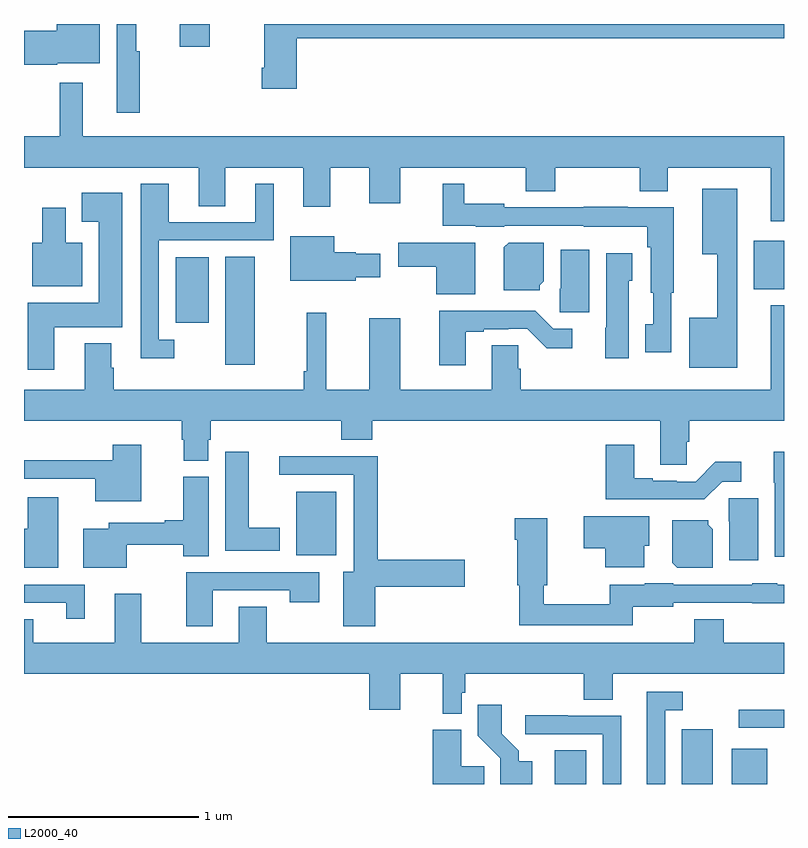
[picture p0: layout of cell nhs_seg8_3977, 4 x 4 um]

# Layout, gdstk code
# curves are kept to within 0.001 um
import gdstk
lib = gdstk.Library(unit=1e-6, precision=1e-09)
def R(c, l, rs):  # rectangles x0, y0, x1, y1
    for r in rs: c.add(gdstk.rectangle(r[:2], r[2:], *l))
def P(c, l, *ps):  # polygons
    for p in ps: c.add(gdstk.Polygon(p, *l))
L2000_40 = (2000, 40)

nhs_seg8_3977 = lib.new_cell('nhs_seg8_3977')
R(nhs_seg8_3977, L2000_40, [(357.794,1135.9,357.958,1136.078), (358.463,1135.9,358.624,1136.188), (358.724,1135.9,358.912,1136.086), (358.761,1136.196,359,1136.292), (356.432,1137.104,356.644,1137.439), (356.06,1138.107,356.215,1138.676), (355.799,1138.328,355.972,1138.672), (358.841,1138.505,359,1138.759), (355.82,1139.781,355.978,1139.9)])
P(nhs_seg8_3977, L2000_40, [(355.176,1139.693),(355.399,1139.693),(355.399,1139.9),(355.172,1139.9),(355.172,1139.864),(355,1139.864),(355,1139.686),(355.176,1139.686)],
  [(355.609,1139.757),(355.591,1139.757),(355.591,1139.9),(355.487,1139.9),(355.487,1139.433),(355.609,1139.433)],
  [(356.435,1139.824),(359,1139.824),(359,1139.9),(356.264,1139.9),(356.264,1139.671),(356.252,1139.671),(356.252,1139.559),(356.435,1139.559)],
  [(359,1139.308),(355.309,1139.308),(355.309,1139.59),(355.188,1139.59),(355.188,1139.308),(355,1139.308),(355,1139.144),(355.919,1139.144),(355.919,1138.942),(356.059,1138.942),(356.059,1139.144),(356.471,1139.144),(356.471,1138.938),(356.611,1138.938),(356.611,1139.144),(356.816,1139.144),(356.816,1138.956),(356.98,1138.956),(356.98,1139.144),(357.64,1139.144),(357.64,1139.02),(357.795,1139.02),(357.795,1139.144),(358.24,1139.144),(358.24,1139.02),(358.387,1139.02),(358.387,1139.144),(358.931,1139.144),(358.931,1138.863),(359,1138.863)],
  [(355.792,1138.239),(355.71,1138.239),(355.71,1138.761),(356.314,1138.761),(356.314,1139.059),(356.216,1139.059),(356.216,1138.857),(355.762,1138.857),(355.762,1139.059),(355.614,1139.059),(355.614,1138.142),(355.792,1138.142)],
  [(358.407,1138.485),(358.42,1138.485),(358.42,1138.935),(358.177,1138.935),(358.177,1138.937),(357.945,1138.937),(357.945,1138.935),(357.528,1138.935),(357.528,1138.954),(357.316,1138.954),(357.316,1139.059),(357.205,1139.059),(357.205,1138.838),(357.378,1138.838),(357.378,1138.832),(357.528,1138.832),(357.528,1138.839),(357.945,1138.839),(357.945,1138.832),(358.28,1138.832),(358.28,1138.725),(358.298,1138.725),(358.298,1138.485),(358.311,1138.485),(358.311,1138.321),(358.271,1138.321),(358.271,1138.173),(358.407,1138.173)],
  [(358.753,1139.032),(358.571,1139.032),(358.571,1138.688),(358.649,1138.688),(358.649,1138.354),(358.502,1138.354),(358.502,1138.091),(358.753,1138.091)],
  [(355.159,1138.304),(355.516,1138.304),(355.516,1139.011),(355.304,1139.011),(355.304,1138.859),(355.394,1138.859),(355.394,1138.432),(355.019,1138.432),(355.019,1138.08),(355.159,1138.08)],
  [(355.306,1138.75),(355.219,1138.75),(355.219,1138.933),(355.097,1138.933),(355.097,1138.75),(355.043,1138.75),(355.043,1138.52),(355.306,1138.52)],
  [(356.745,1138.568),(356.875,1138.568),(356.875,1138.69),(356.745,1138.69),(356.745,1138.698),(356.632,1138.698),(356.632,1138.783),(356.402,1138.783),(356.402,1138.55),(356.745,1138.55)],
  [(357.714,1138.524),(357.736,1138.546),(357.736,1138.75),(357.55,1138.75),(357.524,1138.724),(357.524,1138.499),(357.714,1138.499)],
  [(357.376,1138.75),(356.97,1138.75),(356.97,1138.622),(357.17,1138.622),(357.17,1138.478),(357.376,1138.478)],
  [(357.976,1138.711),(357.824,1138.711),(357.824,1138.506),(357.82,1138.506),(357.82,1138.383),(357.976,1138.383)],
  [(358.183,1138.548),(358.201,1138.548),(358.201,1138.693),(358.064,1138.693),(358.064,1138.302),(358.058,1138.302),(358.058,1138.14),(358.183,1138.14)],
  [(358.488,1137.702),(358.502,1137.702),(358.502,1137.812),(359,1137.812),(359,1138.42),(358.931,1138.42),(358.931,1137.976),(357.614,1137.976),(357.614,1138.086),(357.6,1138.086),(357.6,1138.208),(357.461,1138.208),(357.461,1137.976),(356.98,1137.976),(356.98,1138.351),(356.816,1138.351),(356.816,1137.976),(356.592,1137.976),(356.592,1138.381),(356.488,1138.381),(356.488,1138.072),(356.473,1138.072),(356.473,1137.976),(355.472,1137.976),(355.472,1138.092),(355.459,1138.092),(355.459,1138.219),(355.319,1138.219),(355.319,1137.976),(355,1137.976),(355,1137.812),(355.829,1137.812),(355.829,1137.711),(355.841,1137.711),(355.841,1137.601),(355.969,1137.601),(355.969,1137.711),(355.982,1137.711),(355.982,1137.812),(356.669,1137.812),(356.669,1137.713),(356.834,1137.713),(356.834,1137.812),(358.349,1137.812),(358.349,1137.58),(358.488,1137.58)],
  [(357.325,1138.281),(357.421,1138.281),(357.421,1138.293),(357.548,1138.293),(357.548,1138.296),(357.648,1138.296),(357.751,1138.194),(357.886,1138.194),(357.886,1138.296),(357.786,1138.296),(357.692,1138.39),(357.185,1138.39),(357.185,1138.104),(357.325,1138.104)],
  [(355.618,1137.685),(355.466,1137.685),(355.466,1137.605),(355,1137.605),(355,1137.507),(355.376,1137.507),(355.376,1137.389),(355.618,1137.389)],
  [(358.674,1137.492),(358.774,1137.492),(358.774,1137.595),(358.639,1137.595),(358.536,1137.492),(358.436,1137.492),(358.436,1137.495),(358.309,1137.495),(358.309,1137.508),(358.213,1137.508),(358.213,1137.685),(358.061,1137.685),(358.061,1137.399),(358.58,1137.398)],
  [(356.347,1137.25),(356.182,1137.25),(356.182,1137.649),(356.06,1137.649),(356.06,1137.128),(356.347,1137.128)],
  [(359,1137.649),(358.946,1137.649),(358.946,1137.486),(358.952,1137.486),(358.952,1137.096),(359,1137.096)],
  [(356.848,1136.938),(357.319,1136.938),(357.319,1137.08),(356.861,1137.08),(356.861,1137.626),(356.343,1137.626),(356.343,1137.528),(356.735,1137.528),(356.735,1137.016),(356.681,1137.016),(356.681,1136.73),(356.848,1136.73)],
  [(355.542,1137.16),(355.838,1137.16),(355.838,1137.1),(355.972,1137.1),(355.972,1137.516),(355.838,1137.516),(355.838,1137.289),(355.742,1137.289),(355.742,1137.276),(355.446,1137.276),(355.446,1137.244),(355.313,1137.244),(355.313,1137.038),(355.542,1137.038)],
  [(355.18,1137.409),(355.019,1137.409),(355.019,1137.244),(355,1137.244),(355,1137.038),(355.18,1137.038)],
  [(358.864,1137.405),(358.708,1137.405),(358.708,1137.282),(358.712,1137.282),(358.712,1137.078),(358.864,1137.078)],
  [(358.264,1137.153),(358.291,1137.153),(358.291,1137.31),(357.947,1137.31),(357.947,1137.142),(358.058,1137.142),(358.058,1137.041),(358.264,1137.041)],
  [(358.204,1136.834),(358.416,1136.834),(358.416,1136.853),(358.833,1136.853),(358.833,1136.852),(359,1136.852),(359,1136.95),(358.965,1136.95),(358.965,1136.956),(358.833,1136.956),(358.833,1136.949),(358.416,1136.949),(358.416,1136.956),(358.266,1136.956),(358.266,1136.95),(358.083,1136.95),(358.083,1136.845),(357.736,1136.845),(357.736,1136.945),(357.754,1136.945),(357.754,1137.298),(357.584,1137.298),(357.584,1137.185),(357.596,1137.185),(357.596,1136.945),(357.607,1136.945),(357.607,1136.736),(358.204,1136.736)],
  [(358.624,1137.242),(358.602,1137.264),(358.602,1137.289),(358.412,1137.289),(358.412,1137.064),(358.438,1137.038),(358.624,1137.038)],
  [(355.993,1136.919),(356.398,1136.919),(356.398,1136.856),(356.554,1136.856),(356.554,1137.015),(355.853,1137.015),(355.853,1136.73),(355.993,1136.73)],
  [(355.321,1136.949),(355,1136.949),(355,1136.853),(355.223,1136.853),(355.223,1136.769),(355.321,1136.769)],
  [(357.303,1136.379),(357.323,1136.379),(357.323,1136.48),(357.947,1136.48),(357.947,1136.344),(358.099,1136.344),(358.099,1136.48),(359,1136.48),(359,1136.644),(358.683,1136.644),(358.683,1136.768),(358.528,1136.768),(358.528,1136.644),(356.277,1136.644),(356.277,1136.834),(356.129,1136.834),(356.129,1136.644),(355.618,1136.644),(355.618,1136.902),(355.478,1136.902),(355.478,1136.644),(355.048,1136.644),(355.048,1136.768),(355,1136.768),(355,1136.48),(356.816,1136.48),(356.816,1136.292),(356.98,1136.292),(356.98,1136.48),(357.205,1136.48),(357.205,1136.27),(357.303,1136.27)],
  [(358.374,1136.289),(358.468,1136.289),(358.468,1136.385),(358.277,1136.385),(358.277,1135.9),(358.374,1135.9)],
  [(357.676,1136.02),(357.604,1136.02),(357.604,1136.075),(357.514,1136.165),(357.514,1136.317),(357.388,1136.317),(357.388,1136.154),(357.507,1136.035),(357.507,1135.9),(357.676,1135.9)],
  [(358.144,1136.259),(357.863,1136.259),(357.863,1136.262),(357.639,1136.262),(357.639,1136.163),(358.047,1136.163),(358.047,1135.9),(358.144,1135.9)],
  [(357.422,1135.994),(357.301,1135.994),(357.301,1136.185),(357.152,1136.185),(357.152,1135.9),(357.422,1135.9)])

lib.write_gds('nhs_seg8_3977.gds')
